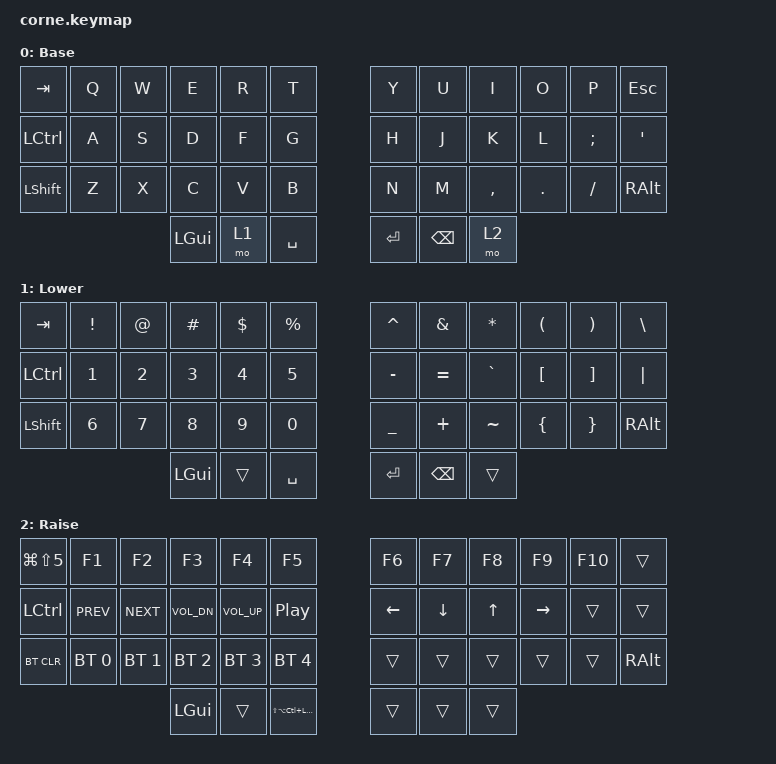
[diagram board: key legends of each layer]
/*
 * Copyright (c) 2020 The ZMK Contributors
 *
 * SPDX-License-Identifier: MIT
 */

#include <behaviors.dtsi>
#include <dt-bindings/zmk/bt.h>
#include <dt-bindings/zmk/keys.h>

/ {
    keymap {
        compatible = "zmk,keymap";

        default_layer {
            // -----------------------------------------------------------------------------------------
            // |  TAB |  Q  |  W  |  E  |  R  |  T  |   |  Y  |  U   |  I  |  O  |  P  | BKSP |
            // | CTRL |  A  |  S  |  D  |  F  |  G  |   |  H  |  J   |  K  |  L  |  ;  |  '   |
            // | SHFT |  Z  |  X  |  C  |  V  |  B  |   |  N  |  M   |  ,  |  .  |  /  | ESC  |
            //                    | GUI | LWR | SPC |   | ENT | RSE  | ALT |

            display-name = "Base";
            bindings = <
&kp TAB    &kp Q  &kp W  &kp E     &kp R  &kp T        &kp Y    &kp U     &kp I      &kp O    &kp P     &kp ESC
&kp LCTRL  &kp A  &kp S  &kp D     &kp F  &kp G        &kp H    &kp J     &kp K      &kp L    &kp SEMI  &kp SQT
&kp LSHFT  &kp Z  &kp X  &kp C     &kp V  &kp B        &kp N    &kp M     &kp COMMA  &kp DOT  &kp FSLH  &kp RALT
                         &kp LGUI  &mo 1  &kp SPACE    &kp RET  &kp BSPC  &mo 2
            >;
        };

        lower_layer {
            // -----------------------------------------------------------------------------------------
            // |  TAB |  1  |  2  |  3  |  4  |  5  |   |  6  |  7  |  8  |  9  |  0  | BKSP |
            // | BTCLR| BT1 | BT2 | BT3 | BT4 | BT5 |   | LFT | DWN |  UP | RGT |     |      |
            // | SHFT |     |     |     |     |     |   |     |     |     |     |     |      |
            //                    | GUI |     | SPC |   | ENT |     | ALT |

            display-name = "Lower";
            bindings = <
&kp TAB    &kp EXCL  &kp AT  &kp HASH  &kp DLLR  &kp PRCNT    &kp CARET       &kp AMPS   &kp ASTRK  &kp LPAR          &kp RPAR           &kp BACKSLASH
&kp LCTRL  &kp N1    &kp N2  &kp N3    &kp N4    &kp N5       &kp MINUS       &kp EQUAL  &kp GRAVE  &kp LEFT_BRACKET  &kp RIGHT_BRACKET  &kp PIPE
&kp LSHFT  &kp N6    &kp N7  &kp N8    &kp N9    &kp N0       &kp UNDERSCORE  &kp PLUS   &kp TILDE  &kp LEFT_BRACE    &kp RIGHT_BRACE    &kp RIGHT_ALT
                             &kp LGUI  &trans    &kp SPACE    &kp RET         &kp BSPC   &trans
            >;
        };

        raise_layer {
            // -----------------------------------------------------------------------------------------
            // |  TAB |  !  |  @  |  #  |  $  |  %  |   |  ^  |  &  |  *  |  (  |  )  | BKSP |
            // | CTRL |     |     |     |     |     |   |  -  |  =  |  [  |  ]  |  \  |  `   |
            // | SHFT |     |     |     |     |     |   |  _  |  +  |  {  |  }  | "|" |  ~   |
            //                    | GUI |     | SPC |   | ENT |     | ALT |

            display-name = "Raise";
            bindings = <
&kp LG(LS(NUMBER_5))  &kp F1        &kp F2        &kp F3        &kp F4        &kp F5                  &kp F6    &kp F7    &kp F8  &kp F9     &kp F10  &trans
&kp LCTRL             &kp C_PREV    &kp C_NEXT    &kp C_VOL_DN  &kp C_VOL_UP  &kp C_PLAY_PAUSE        &kp LEFT  &kp DOWN  &kp UP  &kp RIGHT  &trans   &trans
&bt BT_CLR            &bt BT_SEL 0  &bt BT_SEL 1  &bt BT_SEL 2  &bt BT_SEL 3  &bt BT_SEL 4            &trans    &trans    &trans  &trans     &trans   &kp RIGHT_ALT
                                                  &kp LGUI      &trans        &kp LS(LA(LC(LGUI)))    &trans    &trans    &trans
            >;
        };
    };
};
